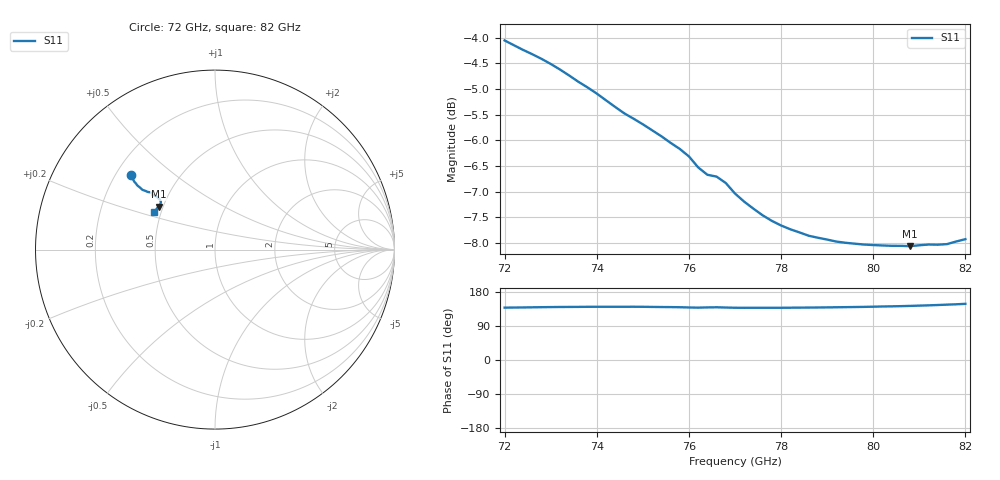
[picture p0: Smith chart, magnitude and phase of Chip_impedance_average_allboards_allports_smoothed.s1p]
# GHZ S RI R 50.0
! Port[1] =
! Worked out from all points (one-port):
!   51 points, 72 GHz to 82 GHz, reference 50 ohm
!   lowest |S11| = -8.1 dB at 80.8 GHz (marker M1), VSWR 2.31, Z = 23.6 + j13.4 ohm
!   |S11| at or under -10 dB: nowhere
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72  -0.4674 0.4178
72.4  -0.461 0.4053
73  -0.4533 0.385
73.4  -0.4441 0.3724
74  -0.4292 0.3543
74.6  -0.4105 0.3387
75  -0.4001 0.3313
75.8  -0.3724 0.3208
76  -0.3626 0.3196
76.2  -0.3514 0.3145
76.4  -0.3487 0.3058
76.6  -0.3492 0.3023
76.8  -0.3408 0.3019
77  -0.3298 0.2982
77.2  -0.3233 0.2934
77.6  -0.3139 0.2842
77.8  -0.3097 0.281
78  -0.3067 0.2779
78.4  -0.3038 0.2716
78.8  -0.3019 0.2665
79.2  -0.302 0.2612
79.6  -0.3035 0.2565
80.4  -0.31 0.2456
80.8  -0.3146 0.2391
81.2  -0.3217 0.2319
81.6  -0.3294 0.2215
81.8  -0.3348 0.2176
82  -0.3413 0.2112
